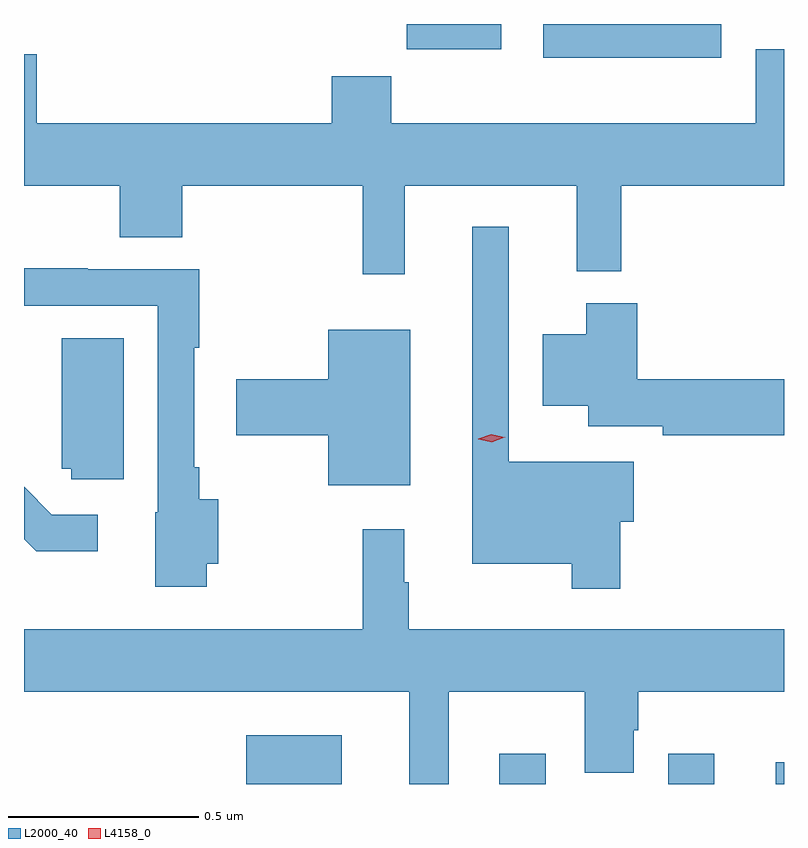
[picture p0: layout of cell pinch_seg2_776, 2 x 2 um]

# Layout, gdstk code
import gdstk
lib = gdstk.Library(unit=1e-6, precision=1e-09)
def R(c, l, rs):  # rectangles x0, y0, x1, y1
    for r in rs: c.add(gdstk.rectangle(r[:2], r[2:], *l))
def P(c, l, *ps):  # polygons
    for p in ps: c.add(gdstk.Polygon(p, *l))
L2000_40 = (2000, 40)
L4158_0 = (4158, 0)

pinch_seg2_776 = lib.new_cell('pinch_seg2_776')
R(pinch_seg2_776, L2000_40, [(675.296,647.393,675.547,647.521), (675.962,647.393,676.084,647.473), (676.406,647.393,676.528,647.473), (676.689,647.393,676.711,647.45), (676.077,649.304,676.546,649.393), (675.718,649.326,675.967,649.393)])
P(pinch_seg2_776, L2000_40, [(675.713,648.968),(676.166,648.968),(676.166,648.743),(676.283,648.743),(676.283,648.968),(676.711,648.968),(676.711,649.327),(676.637,649.327),(676.637,649.132),(675.677,649.132),(675.677,649.256),(675.521,649.256),(675.521,649.132),(674.744,649.132),(674.744,649.314),(674.711,649.314),(674.711,648.968),(674.963,648.968),(674.963,648.832),(675.128,648.832),(675.128,648.968),(675.603,648.968),(675.603,648.735),(675.713,648.735)],
  [(676.28,648.083),(676.315,648.083),(676.315,648.241),(675.987,648.241),(675.987,648.859),(675.89,648.859),(675.89,647.972),(676.152,647.972),(676.152,647.907),(676.28,647.907)],
  [(675.192,647.972),(675.222,647.972),(675.222,648.143),(675.172,648.143),(675.172,648.226),(675.159,648.226),(675.159,648.541),(675.172,648.541),(675.172,648.747),(674.879,648.747),(674.879,648.75),(674.711,648.75),(674.711,648.651),(675.063,648.651),(675.063,648.108),(675.056,648.108),(675.056,647.912),(675.192,647.912)],
  [(676.711,648.458),(676.325,648.458),(676.325,648.658),(676.19,648.658),(676.19,648.577),(676.076,648.577),(676.076,648.389),(676.196,648.389),(676.196,648.335),(676.392,648.335),(676.392,648.311),(676.711,648.311)],
  [(675.727,648.589),(675.512,648.589),(675.512,648.458),(675.27,648.458),(675.27,648.311),(675.512,648.311),(675.512,648.179),(675.727,648.179)],
  [(674.974,648.566),(674.81,648.566),(674.81,648.222),(674.835,648.222),(674.835,648.195),(674.974,648.195)],
  [(674.905,648.102),(674.784,648.102),(674.711,648.175),(674.711,648.037),(674.743,648.005),(674.905,648.005)],
  [(675.829,647.636),(676.187,647.636),(676.187,647.423),(676.315,647.423),(676.315,647.535),(676.328,647.535),(676.328,647.636),(676.711,647.636),(676.711,647.8),(675.724,647.8),(675.724,647.924),(675.712,647.924),(675.712,648.064),(675.603,648.064),(675.603,647.8),(674.711,647.8),(674.711,647.636),(675.725,647.636),(675.725,647.393),(675.829,647.393)])
P(pinch_seg2_776, L4158_0, [(675.942,648.293),(675.906,648.3),(675.906,648.301),(675.906,648.301),(675.941,648.313),(675.976,648.305),(675.977,648.305),(675.976,648.305)])

lib.write_gds('pinch_seg2_776.gds')
